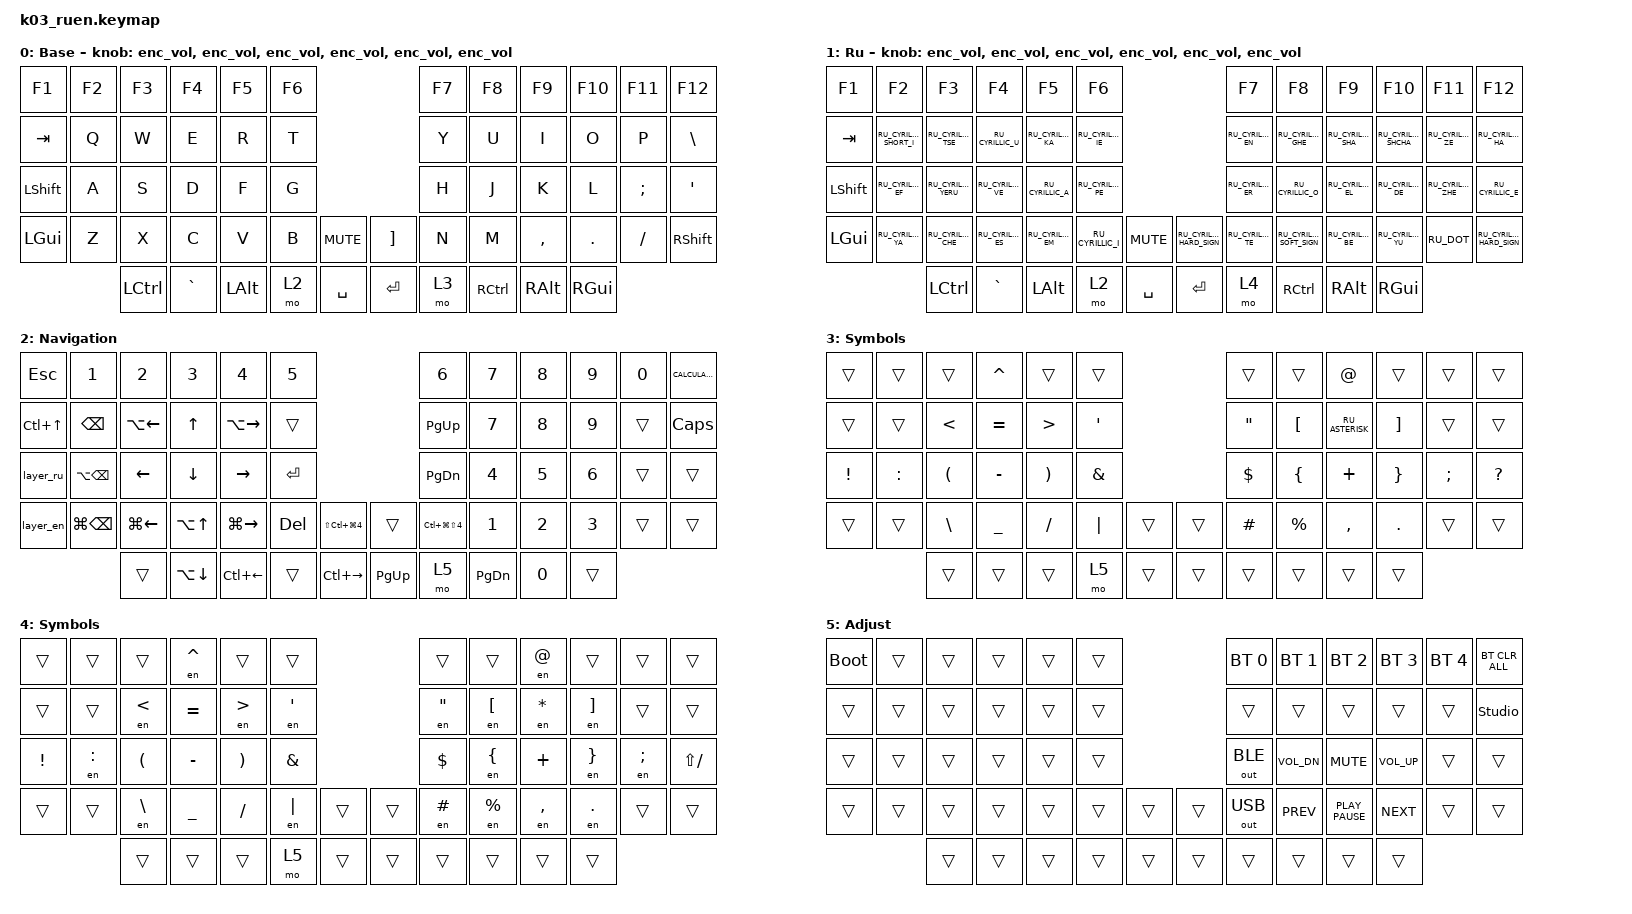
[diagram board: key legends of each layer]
#include "keys_ru.h"
#include <behaviors.dtsi>
#include <dt-bindings/zmk/bt.h>
#include <dt-bindings/zmk/keys.h>
#include <dt-bindings/zmk/outputs.h>

/ {
    behaviors {
        enc_vol: enc_vol {
            compatible = "zmk,behavior-sensor-rotate";
            label = "ENC_VOL";
            #sensor-binding-cells = <0>;
            bindings = <&kp C_VOL_UP>, <&kp C_VOL_DN>;
        };

        lg_space: lg_space {
            compatible = "zmk,behavior-mod-morph";
            label = "LG_SPACE";
            bindings = <&kp SPACE>, <&lg_tog>;

            #binding-cells = <0>;
            mods = <(MOD_LCTL)>;
        };
    };

    combos {
        compatible = "zmk,combos";

        cmben {
            bindings = <&layer_en>;
            key-positions = <15 16>;
            layers = <1>;
        };

        cmbru {
            bindings = <&layer_ru>;
            key-positions = <15 16>;
            layers = <0>;
        };
    };

    macros {
        to_ru: to_ru {
            compatible = "zmk,behavior-macro";
            #binding-cells = <0>;
            bindings = <&kp LC(LS(NUMBER_2))>;
            label = "TO_RU";
            wait-ms = <0>;
            tap-ms = <30>;
        };

        to_en: to_en {
            compatible = "zmk,behavior-macro";
            #binding-cells = <0>;
            bindings = <&kp LC(LS(NUMBER_1))>;
            label = "TO_EN";
            wait-ms = <0>;
            tap-ms = <30>;
        };

        layer_en: layer_en {
            compatible = "zmk,behavior-macro";
            #binding-cells = <0>;
            bindings = <&to 0 &to_en>;
            label = "LAYER_EN";
            wait-ms = <0>;
            tap-ms = <30>;
        };

        layer_ru: layer_ru {
            compatible = "zmk,behavior-macro";
            #binding-cells = <0>;
            bindings = <&to 1 &to_ru>;
            label = "LAYER_RU";
            tap-ms = <30>;
            wait-ms = <0>;
        };

        en: en {
            compatible = "zmk,behavior-macro-one-param";
            #binding-cells = <1>;
            bindings =
                <&to_en>,
                <&macro_press>,
                <&macro_param_1to1 &kp MACRO_PLACEHOLDER>,
                <&macro_pause_for_release>,
                <&macro_release>,
                <&macro_param_1to1 &kp MACRO_PLACEHOLDER>,
                <&macro_tap>,
                <&to_ru>;

            label = "EN";
            wait-ms = <0>;
            tap-ms = <30>;
        };

        lg_tog: lg_tog {
            compatible = "zmk,behavior-macro";
            #binding-cells = <0>;
            bindings = <&kp LC(SPACE) &tog 1>;
            label = "LG_TOG";
        };
    };

    keymap {
        compatible = "zmk,keymap";

        en {
            bindings = <
&kp F1          &kp F2  &kp F3     &kp F4     &kp F5        &kp F6                           &kp F7  &kp F8     &kp F9     &kp F10   &kp F11   &kp F12
&kp TAB         &kp Q   &kp W      &kp E      &kp R         &kp T                            &kp Y   &kp U      &kp I      &kp O     &kp P     &kp BSLH
&kp LEFT_SHIFT  &kp A   &kp S      &kp D      &kp F         &kp G                            &kp H   &kp J      &kp K      &kp L     &kp SEMI  &kp SQT
&kp LEFT_GUI    &kp Z   &kp X      &kp C      &kp V         &kp B   &kp K_MUTE    &kp RBKT   &kp N   &kp M      &kp COMMA  &kp DOT   &kp FSLH  &kp RSHFT
                        &kp LCTRL  &kp GRAVE  &kp LEFT_ALT  &mo 2   &kp SPACE     &kp ENTER  &mo 3   &kp RCTRL  &kp RALT   &kp RGUI
            >;

            display-name = "Base";
            sensor-bindings =
                <&enc_vol>,
                <&enc_vol>,
                <&enc_vol>,
                <&enc_vol>,
                <&enc_vol>,
                <&enc_vol>;
        };

        ru {
            display-name = "Ru";
            bindings = <
&kp F1          &kp F2                   &kp F3                &kp F4              &kp F5              &kp F6                                                       &kp F7              &kp F8                     &kp F9               &kp F10                &kp F11              &kp F12
&kp TAB         &kp RU_CYRILLIC_SHORT_I  &kp RU_CYRILLIC_TSE   &kp RU_CYRILLIC_U   &kp RU_CYRILLIC_KA  &kp RU_CYRILLIC_IE                                           &kp RU_CYRILLIC_EN  &kp RU_CYRILLIC_GHE        &kp RU_CYRILLIC_SHA  &kp RU_CYRILLIC_SHCHA  &kp RU_CYRILLIC_ZE   &kp RU_CYRILLIC_HA
&kp LEFT_SHIFT  &kp RU_CYRILLIC_EF       &kp RU_CYRILLIC_YERU  &kp RU_CYRILLIC_VE  &kp RU_CYRILLIC_A   &kp RU_CYRILLIC_PE                                           &kp RU_CYRILLIC_ER  &kp RU_CYRILLIC_O          &kp RU_CYRILLIC_EL   &kp RU_CYRILLIC_DE     &kp RU_CYRILLIC_ZHE  &kp RU_CYRILLIC_E
&kp LEFT_GUI    &kp RU_CYRILLIC_YA       &kp RU_CYRILLIC_CHE   &kp RU_CYRILLIC_ES  &kp RU_CYRILLIC_EM  &kp RU_CYRILLIC_I   &kp K_MUTE    &kp RU_CYRILLIC_HARD_SIGN  &kp RU_CYRILLIC_TE  &kp RU_CYRILLIC_SOFT_SIGN  &kp RU_CYRILLIC_BE   &kp RU_CYRILLIC_YU     &kp RU_DOT           &kp RU_CYRILLIC_HARD_SIGN
                                         &kp LCTRL             &kp GRAVE           &kp LEFT_ALT        &mo 2               &kp SPACE     &kp ENTER                  &mo 4               &kp RCTRL                  &kp RALT             &kp RGUI
            >;

            sensor-bindings =
                <&enc_vol>,
                <&enc_vol>,
                <&enc_vol>,
                <&enc_vol>,
                <&enc_vol>,
                <&enc_vol>;
        };

        nav {
            bindings = <
&kp ESC           &kp NUMBER_1       &kp NUMBER_2        &kp NUMBER_3        &kp NUMBER_4         &kp NUMBER_5                                           &kp NUMBER_6              &kp NUMBER_7   &kp NUMBER_8  &kp NUMBER_9  &kp NUMBER_0  &kp K_CALCULATOR
&kp LC(UP_ARROW)  &kp BACKSPACE      &kp LA(LEFT_ARROW)  &kp UP              &kp LA(RIGHT_ARROW)  &trans                                                 &kp PG_UP                 &kp N7         &kp N8        &kp N9        &trans        &kp CAPSLOCK
&layer_ru         &kp LA(BACKSPACE)  &kp LEFT            &kp DOWN            &kp RIGHT            &kp RET                                                &kp PG_DN                 &kp N4         &kp N5        &kp N6        &trans        &trans
&layer_en         &kp LG(BACKSPACE)  &kp LG(LEFT)        &kp LA(UP_ARROW)    &kp LG(RIGHT)        &kp DEL       &kp LS(LC(LG(NUMBER_4)))    &trans       &kp LC(LG(LS(NUMBER_4)))  &kp N1         &kp N2        &kp N3        &trans        &trans
                                     &trans              &kp LA(DOWN_ARROW)  &kp LC(LEFT)         &trans        &kp LC(RIGHT_ARROW)         &kp PAGE_UP  &mo 5                     &kp PAGE_DOWN  &kp N0        &trans
            >;

            display-name = "Navigation";
        };

        sym_en {
            bindings = <
&trans    &trans     &trans         &kp CARET       &trans    &trans                              &trans             &trans       &kp AT_SIGN      &trans    &trans    &trans
&trans    &trans     &kp LT         &kp EQUAL       &kp GT    &kp SINGLE_QUOTE                    &kp DOUBLE_QUOTES  &kp LBKT     &kp RU_ASTERISK  &kp RBKT  &trans    &trans
&kp EXCL  &kp COLON  &kp LPAR       &kp MINUS       &kp RPAR  &kp AMPERSAND                       &kp DOLLAR         &kp LBRC     &kp PLUS         &kp RBRC  &kp SEMI  &kp QUESTION
&trans    &trans     &kp BACKSLASH  &kp UNDERSCORE  &kp FSLH  &kp PIPE          &trans    &trans  &kp HASH           &kp PERCENT  &kp COMMA        &kp DOT   &trans    &trans
                     &trans         &trans          &trans    &mo 5             &trans    &trans  &trans             &trans       &trans           &trans
            >;

            display-name = "Symbols";
        };

        sym_ru {
            display-name = "Symbols";
            bindings = <
&trans           &trans     &trans         &en CARET       &trans    &trans                              &trans             &trans       &en AT_SIGN  &trans    &trans         &trans
&trans           &trans     &en LT         &kp EQUAL       &en GT    &en SINGLE_QUOTE                    &en DOUBLE_QUOTES  &en LBKT     &en ASTRK    &en RBKT  &trans         &trans
&kp EXCLAMATION  &en COLON  &kp LPAR       &kp MINUS       &kp RPAR  &kp AMPERSAND                       &kp DOLLAR         &en LBRC     &kp PLUS     &en RBRC  &en SEMICOLON  &kp LS(FSLH)
&trans           &trans     &en BACKSLASH  &kp UNDERSCORE  &kp FSLH  &en PIPE          &trans    &trans  &en HASH           &en PERCENT  &en COMMA    &en DOT   &trans         &trans
                            &trans         &trans          &trans    &mo 5             &trans    &trans  &trans             &trans       &trans       &trans
            >;
        };

        adj {
            bindings = <
&bootloader  &trans  &trans  &trans  &trans  &trans                    &bt BT_SEL 0  &bt BT_SEL 1  &bt BT_SEL 2      &bt BT_SEL 3  &bt BT_SEL 4  &bt BT_CLR_ALL
&trans       &trans  &trans  &trans  &trans  &trans                    &trans        &trans        &trans            &trans        &trans        &studio_unlock
&trans       &trans  &trans  &trans  &trans  &trans                    &out OUT_BLE  &kp C_VOL_DN  &kp K_MUTE        &kp C_VOL_UP  &trans        &trans
&trans       &trans  &trans  &trans  &trans  &trans  &trans    &trans  &out OUT_USB  &kp K_PREV    &kp K_PLAY_PAUSE  &kp K_NEXT    &trans        &trans
                     &trans  &trans  &trans  &trans  &trans    &trans  &trans        &trans        &trans            &trans
            >;

            display-name = "Adjust";
        };
    };
};
